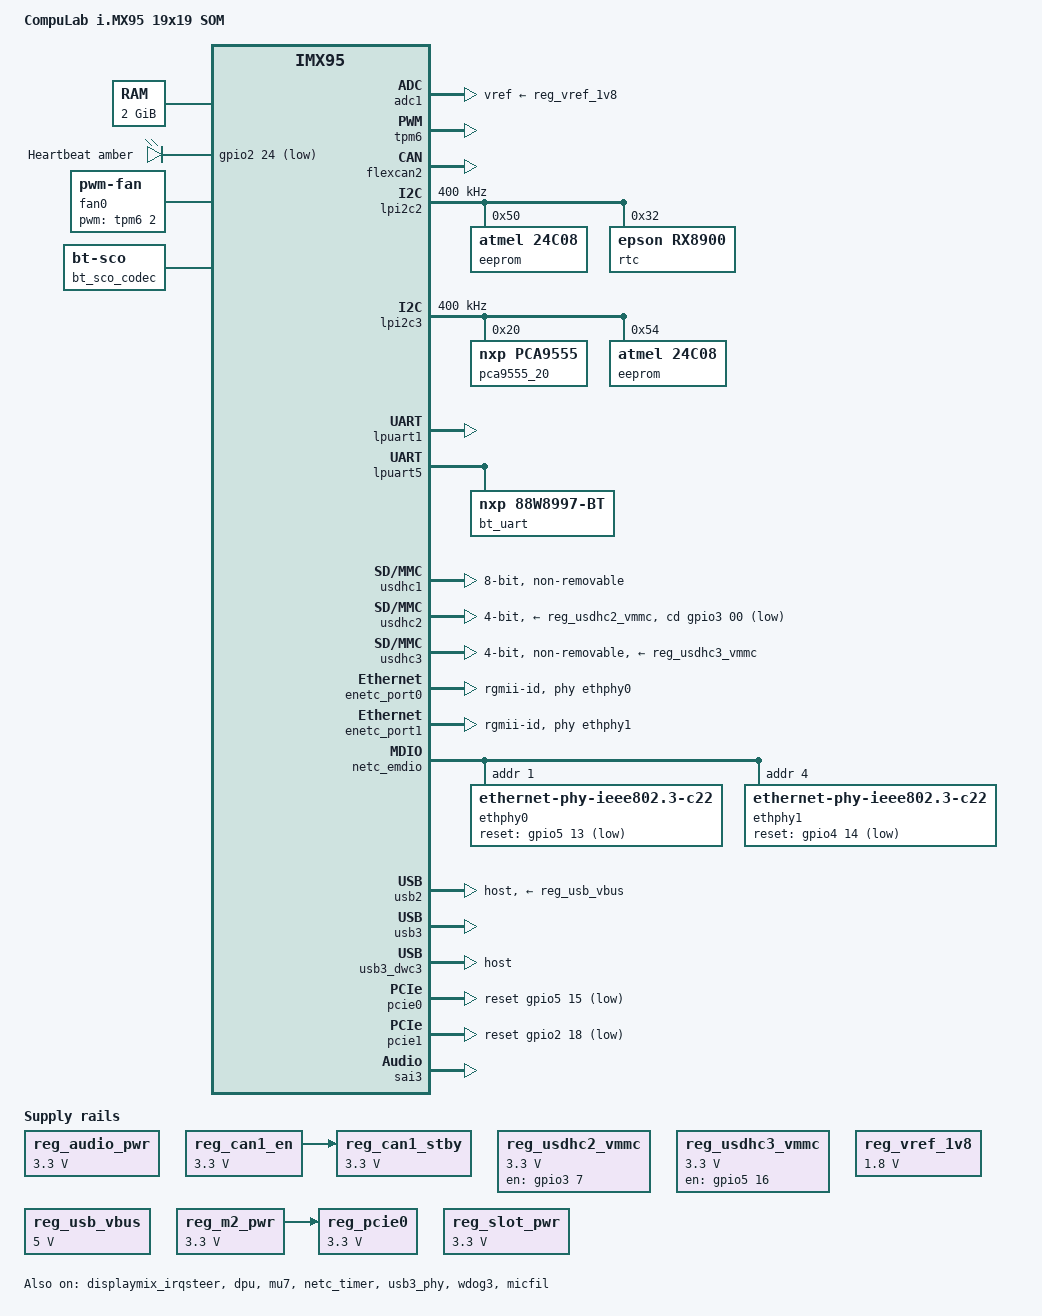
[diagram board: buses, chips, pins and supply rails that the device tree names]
// SPDX-License-Identifier: (GPL-2.0+ OR MIT)
/*
 * Copyright 2024 NXP
 */

/dts-v1/;

#include <dt-bindings/phy/phy-imx8-pcie.h>
#include <dt-bindings/gpio/gpio.h>
#include <dt-bindings/leds/common.h>
#include <dt-bindings/pwm/pwm.h>
#include <dt-bindings/usb/pd.h>
#include "../freescale/imx95.dtsi"
#include "ucm-imx95-pinctrl.dtsi"

#define FALLING_EDGE		BIT(0)
#define RISING_EDGE		BIT(1)

#define BRD_SM_CTRL_SD3_WAKE		0x8000	/*!< PCAL6408A-0 */
#define BRD_SM_CTRL_PCIE1_WAKE		0x8001	/*!< PCAL6408A-4 */
#define BRD_SM_CTRL_BT_WAKE		0x8002	/*!< PCAL6408A-5 */
#define BRD_SM_CTRL_PCIE2_WAKE		0x8003	/*!< PCAL6408A-6 */
#define BRD_SM_CTRL_BUTTON		0x8004	/*!< PCAL6408A-7 */

/ {
	model = "CompuLab i.MX95 19x19 SOM";
	compatible = "compulab,ucm-imx95", "fsl,imx95";

	aliases {
		mmc0 = &usdhc1;
		mmc1 = &usdhc2;
		serial0 = &lpuart1;
		ethernet0 = &enetc_port0;
		ethernet1 = &enetc_port1;
	};

	chosen {
		stdout-path = &lpuart1;
		#address-cells = <2>;
		#size-cells = <2>;
		/* will be updated by U-boot when booting Xen */
		module@0 {
			bootargs = "earlycon=xen console=hvc0 loglevel=8 root=/dev/mmcblk0p2 rw rootwait";
			compatible = "xen,linux-zimage", "xen,multiboot-module";
			reg = <0x00000000 0x9e000000 0x00000000 0x2000000>;
		};
	};

	memory@80000000 {
		device_type = "memory";
		reg = <0x0 0x80000000 0 0x80000000>;
	};

	gpio-leds {
		compatible = "gpio-leds";
		pinctrl-names = "default";
		pinctrl-0 = <&pinctrl_pwrled>;

		heartbeat-led {
			label = "Heartbeat";
			color = <LED_COLOR_ID_AMBER>;
			function = LED_FUNCTION_HEARTBEAT;
			gpios = <&gpio2 24 GPIO_ACTIVE_LOW>;
			linux,default-trigger = "heartbeat";
		};
	};

	fan0: pwm-fan {
		compatible = "pwm-fan";
		#cooling-cells = <2>;
		pwms = <&tpm6 2 4000000 PWM_POLARITY_INVERTED>;
		cooling-levels = <64 128 192 255>;
	};

	reserved-memory {
		#address-cells = <2>;
		#size-cells = <2>;
		ranges;

		linux_cma: linux,cma {
			compatible = "shared-dma-pool";
			alloc-ranges = <0 0x80000000 0 0x7f000000>;
			size = <0 0x3c000000>;
			linux,cma-default;
			reusable;
		};

		vpu_boot: vpu_boot@a0000000 {
			reg = <0 0xa0000000 0 0x100000>;
			no-map;
		};

		vdev0vring0: vdev0vring0@88000000 {
			reg = <0 0x88000000 0 0x8000>;
			no-map;
		};

		vdev0vring1: vdev0vring1@88008000 {
			reg = <0 0x88008000 0 0x8000>;
			no-map;
		};

		vdev1vring0: vdev1vring0@88010000 {
			reg = <0 0x88010000 0 0x8000>;
			no-map;
		};

		vdev1vring1: vdev1vring1@88018000 {
			reg = <0 0x88018000 0 0x8000>;
			no-map;
		};

		rsc_table: rsc-table@88220000 {
			reg = <0 0x88220000 0 0x1000>;
			no-map;
		};

		vdevbuffer: vdevbuffer@88020000 {
			compatible = "shared-dma-pool";
			reg = <0 0x88020000 0 0x100000>;
			no-map;
		};
	};

	reg_audio_pwr: regulator-audio-pwr {
		compatible = "regulator-fixed";
		regulator-name = "audio-pwr";
		regulator-min-microvolt = <3300000>;
		regulator-max-microvolt = <3300000>;
	};

	reg_can1_stby: regulator-can1-stby {
		compatible = "regulator-fixed";
		regulator-name = "can1-stby";
		regulator-min-microvolt = <3300000>;
		regulator-max-microvolt = <3300000>;
		enable-active-high;
		vin-supply = <&reg_can1_en>;
	};

	reg_can1_en: regulator-can1-en {
		compatible = "regulator-fixed";
		regulator-name = "can1-en";
		regulator-min-microvolt = <3300000>;
		regulator-max-microvolt = <3300000>;
		enable-active-high;
	};

	reg_usdhc2_vmmc: regulator-usdhc2 {
		compatible = "regulator-fixed";
		pinctrl-names = "default";
		pinctrl-0 = <&pinctrl_reg_usdhc2_vmmc>;
		regulator-name = "VDD_SD2_3V3";
		regulator-min-microvolt = <3300000>;
		regulator-max-microvolt = <3300000>;
		gpio = <&gpio3 7 GPIO_ACTIVE_HIGH>;
		off-on-delay-us = <12000>;
		enable-active-high;
	};

	reg_usdhc3_vmmc: regulator-usdhc3 {
		compatible = "regulator-fixed";
		pinctrl-names = "default";
		pinctrl-0 = <&pinctrl_reg_usdhc3_vmmc>;
		regulator-name = "VDD_SD3_3V3";
		regulator-min-microvolt = <3300000>;
		regulator-max-microvolt = <3300000>;
		gpio = <&gpio5 16 GPIO_ACTIVE_HIGH>;
		off-on-delay-us = <12000>;
		enable-active-high;
	};

	reg_pcie0: regulator-pcie {
		compatible = "regulator-fixed";
		regulator-name = "PCIE_WLAN_EN";
		regulator-min-microvolt = <3300000>;
		regulator-max-microvolt = <3300000>;
		vin-supply = <&reg_m2_pwr>;
		enable-active-high;
		regulator-always-on;
	};

	reg_vref_1v8: regulator-adc-vref {
		compatible = "regulator-fixed";
		regulator-name = "vref_1v8";
		regulator-min-microvolt = <1800000>;
		regulator-max-microvolt = <1800000>;
	};

	reg_usb_vbus: regulator-vbus {
		compatible = "regulator-fixed";
		regulator-name = "USB_VBUS";
		regulator-min-microvolt = <5000000>;
		regulator-max-microvolt = <5000000>;
		enable-active-high;
		regulator-always-on;
	};

	reg_m2_pwr: regulator-m2-pwr {
		compatible = "regulator-fixed";
		regulator-name = "M.2-power";
		regulator-min-microvolt = <3300000>;
		regulator-max-microvolt = <3300000>;
		enable-active-high;
	};

	reg_slot_pwr: regulator-slot-pwr {
		compatible = "regulator-fixed";
		regulator-name = "PCIe slot-power";
		regulator-min-microvolt = <3300000>;
		regulator-max-microvolt = <3300000>;
		enable-active-high;
		regulator-always-on;
	};

	cm7: imx95-cm7 {
		compatible = "fsl,imx95-cm7";
		mbox-names = "tx", "rx", "rxdb";
		mboxes = <&mu7 0 1
			  &mu7 1 1
			  &mu7 3 1>;
		memory-region = <&vdevbuffer>, <&vdev0vring0>, <&vdev0vring1>,
				<&vdev1vring0>, <&vdev1vring1>, <&rsc_table>;
		/* cpuid and lmmid must align with SM firmware */
		fsl,cpu-id = <1>;
		fsl,lmm-id = <1>;
		fsl,startup-delay-ms = <50>;
		status = "okay";
	};

	sound-micfil {
		compatible = "fsl,imx-audio-card";
		model = "micfil-audio";
		pri-dai-link {
			link-name = "micfil hifi";
			format = "i2s";
			cpu {
				sound-dai = <&micfil>;
			};
		};
	};

	bt_sco_codec: bt_sco_codec {
		#sound-dai-cells = <1>;
		compatible = "linux,bt-sco";
	};

	sound-bt-sco {
		compatible = "simple-audio-card";
		simple-audio-card,name = "bt-sco-audio";
		simple-audio-card,format = "dsp_a";
		simple-audio-card,bitclock-inversion;
		simple-audio-card,frame-master = <&btcpu>;
		simple-audio-card,bitclock-master = <&btcpu>;

		btcpu: simple-audio-card,cpu {
			sound-dai = <&sai1>;
			dai-tdm-slot-num = <2>;
			dai-tdm-slot-width = <16>;
		};

		simple-audio-card,codec {
			sound-dai = <&bt_sco_codec 1>;
		};
	};

	cl_devicetree: cl-devicetree {
		ucm-imx95-som;
	};
};

&adc1 {
	vref-supply = <&reg_vref_1v8>;
	status = "okay";
};

&displaymix_irqsteer {
	status = "okay";
};

&dpu {
	status = "okay";
};

&tpm6 {
	pinctrl-names = "default";
	pinctrl-0 = <&pinctrl_tpm6>;
	pwm-rst;
	status = "okay";
};

/* pin conflict with PDM */
&flexcan1 {
	pinctrl-names = "default";
	pinctrl-0 = <&pinctrl_flexcan1>;
	xceiver-supply = <&reg_can1_stby>;
	status = "disabled";
};

&flexcan2 {
	pinctrl-names = "default";
	pinctrl-0 = <&pinctrl_flexcan2>;
	status = "okay";
};

&flexspi1 {
	pinctrl-names = "default", "sleep";
	pinctrl-0 = <&pinctrl_flexspi1>;
	pinctrl-1 = <&pinctrl_flexspi1>;
	status = "disabled";

	pinctrl-assert-gpios = <&gpio5 11 GPIO_ACTIVE_HIGH>;

	mt35xu01gbba: flash@0 {
		reg = <0>;
		#address-cells = <1>;
		#size-cells = <1>;
		compatible = "jedec,spi-nor";
		spi-max-frequency = <200000000>;
		spi-tx-bus-width = <8>;
		spi-rx-bus-width = <8>;
	};
};

&lpi2c1 {
        #address-cells = <1>;
        #size-cells = <0>;
        clock-frequency = <400000>;
        pinctrl-names = "default", "sleep";
        pinctrl-0 = <&pinctrl_lpi2c1>;
        pinctrl-1 = <&pinctrl_lpi2c1>;
        status = "disabled";
};

&lpi2c2 {
	#address-cells = <1>;
	#size-cells = <0>;
	clock-frequency = <400000>;
	pinctrl-names = "default", "sleep";
	pinctrl-0 = <&pinctrl_lpi2c2>;
	pinctrl-1 = <&pinctrl_lpi2c2>;
        status = "okay";

        eeprom@50 {
                compatible = "atmel,24c08";
                reg = <0x50>;
                pagesize = <16>;
        };

	rtc@32 {
		compatible = "epson,rx8900";
		reg = <0x32>;
		trickle-diode-disable;
		epson,vdet-disable;
		pagesize = <16>;
		sqw = "32768_hz";
		xt-frequency = <32772300>;
		status = "okay";
        };
};

&lpi2c3 {
	#address-cells = <1>;
	#size-cells = <0>;
	clock-frequency = <400000>;
	pinctrl-names = "default", "sleep";
	pinctrl-0 = <&pinctrl_lpi2c3>;
	pinctrl-1 = <&pinctrl_lpi2c3>;
	status = "okay";

	pca9555_20: gpio@20 {
		compatible = "nxp,pca9555";
		reg = <0x20>;
		gpio-controller;
		#gpio-cells = <2>;
		status = "okay";
	};

        eeprom@54 {
                compatible = "atmel,24c08";
                reg = <0x54>;
                pagesize = <16>;
        };
};

&lpi2c4 {
	#address-cells = <1>;
	#size-cells = <0>;
	clock-frequency = <400000>;
	pinctrl-names = "default", "sleep";
	pinctrl-0 = <&pinctrl_lpi2c4>;
	pinctrl-1 = <&pinctrl_lpi2c4>;
        status = "disabled";
};

&lpi2c5 {
	#address-cells = <1>;
	#size-cells = <0>;
	clock-frequency = <100000>;
	pinctrl-names = "default", "sleep";
	pinctrl-0 = <&pinctrl_lpi2c5>;
	pinctrl-1 = <&pinctrl_lpi2c5>;
        status = "disabled";
};

&lpi2c6 {
	#address-cells = <1>;
	#size-cells = <0>;
	clock-frequency = <100000>;
	pinctrl-names = "default", "sleep";
	pinctrl-0 = <&pinctrl_lpi2c6>;
	pinctrl-1 = <&pinctrl_lpi2c6>;
        status = "disabled";
};

&lpi2c7 {
	#address-cells = <1>;
	#size-cells = <0>;
	clock-frequency = <1000000>;
	pinctrl-names = "default", "sleep";
	pinctrl-0 = <&pinctrl_lpi2c7>;
	pinctrl-1 = <&pinctrl_lpi2c7>;
        status = "disabled";
};

&lpi2c8 {
	#address-cells = <1>;
	#size-cells = <0>;
	clock-frequency = <1000000>;
	pinctrl-names = "default", "sleep";
	pinctrl-0 = <&pinctrl_lpi2c8>;
	pinctrl-1 = <&pinctrl_lpi2c8>;
	status = "disabled";
};

&lpuart1 {
	/* console */
	pinctrl-names = "default";
	pinctrl-0 = <&pinctrl_uart1>;
	status = "okay";
};

&lpuart5 {
	/* BT */
	pinctrl-names = "default";
	pinctrl-0 = <&pinctrl_uart5>;
	status = "okay";
	bt_uart: bluetooth {
		compatible = "nxp,88w8997-bt";
		/* U-blox 88Q9098 module use the 3Mbps by default */
		fw-init-baudrate = <3000000>;
	};
};

&lpspi7 {
	fsl,spi-num-chipselects = <1>;
	pinctrl-names = "default", "sleep";
	pinctrl-0 = <&pinctrl_lpspi7>;
	pinctrl-1 = <&pinctrl_lpspi7>;
	cs-gpios = <&gpio2 4 GPIO_ACTIVE_LOW>;
	status = "disabled";

	spidev0: spi@0 {
		reg = <0>;
		compatible = "lwn,bk4";
		spi-max-frequency = <1000000>;
	};
};

&mu7 {
	status = "okay";
};

&usdhc1 {
	pinctrl-names = "default", "state_100mhz", "state_200mhz", "sleep";
	pinctrl-0 = <&pinctrl_usdhc1>;
	pinctrl-1 = <&pinctrl_usdhc1_100mhz>;
	pinctrl-2 = <&pinctrl_usdhc1_200mhz>;
	pinctrl-3 = <&pinctrl_usdhc1>;
	bus-width = <8>;
	non-removable;
	no-sdio;
	no-sd;
	status = "okay";
};

&usdhc2 {
	pinctrl-names = "default", "state_100mhz", "state_200mhz", "sleep";
	pinctrl-0 = <&pinctrl_usdhc2>, <&pinctrl_usdhc2_gpio>;
	pinctrl-1 = <&pinctrl_usdhc2_100mhz>, <&pinctrl_usdhc2_gpio>;
	pinctrl-2 = <&pinctrl_usdhc2_200mhz>, <&pinctrl_usdhc2_gpio>;
	pinctrl-3 = <&pinctrl_usdhc2>, <&pinctrl_usdhc2_gpio>;
	cd-gpios = <&gpio3 00 GPIO_ACTIVE_LOW>;
	vmmc-supply = <&reg_usdhc2_vmmc>;
	bus-width = <4>;
	status = "okay";
};

&usdhc3 {
	pinctrl-names = "default", "state_100mhz", "state_200mhz", "sleep";
	pinctrl-0 = <&pinctrl_usdhc3>;
	pinctrl-1 = <&pinctrl_usdhc3_100mhz>;
	pinctrl-2 = <&pinctrl_usdhc3_200mhz>;
	pinctrl-3 = <&pinctrl_usdhc3>;
	vmmc-supply = <&reg_usdhc3_vmmc>;
	bus-width = <4>;
	non-removable;
	keep-power-in-suspend;
	wifi-host;
	status = "okay";
};

&enetc_port0 {
	pinctrl-names = "default";
	pinctrl-0 = <&pinctrl_enetc0>;
	phy-handle = <&ethphy0>;
	phy-mode = "rgmii-id";
	status = "okay";
};

&enetc_port1 {
	pinctrl-names = "default";
	pinctrl-0 = <&pinctrl_enetc1>;
	phy-handle = <&ethphy1>;
	phy-mode = "rgmii-id";
	status = "okay";
};

&netc_timer {
	status = "okay";
};

&netc_emdio {
	pinctrl-names = "default";
	pinctrl-0 = <&pinctrl_emdio>;
	status = "okay";

	ethphy0: ethernet-phy@1 {
		compatible = "ethernet-phy-ieee802.3-c22";
		reg = <1>;
		reset-gpios = <&gpio5 13 GPIO_ACTIVE_LOW>;
		reset-assert-us = <10000>;
		reset-deassert-us = <80000>;
		realtek,clkout-disable;
	};

	ethphy1: ethernet-phy@4 {
		compatible = "ethernet-phy-ieee802.3-c22";
		reg = <4>;
		reset-gpios = <&gpio4 14 GPIO_ACTIVE_LOW>;
		reset-assert-us = <10000>;
		reset-deassert-us = <80000>;
		realtek,clkout-disable;
	};
};

&usb2 {
	dr_mode = "host";
	vbus-supply = <&reg_usb_vbus>;
	disable-over-current;
	status = "okay";
};

&thermal_zones {
	a55-thermal {
		trips {
			atrip2: trip2 {
				temperature = <55000>;
				hysteresis = <2000>;
				type = "active";
			};

			atrip3: trip3 {
				temperature = <65000>;
				hysteresis = <2000>;
				type = "active";
			};

			atrip4: trip4 {
				temperature = <75000>;
				hysteresis = <2000>;
				type = "active";
			};
		};

		cooling-maps {
			map1 {
				trip = <&atrip2>;
				cooling-device = <&fan0 0 1>;
			};

			map2 {
				trip = <&atrip3>;
				cooling-device = <&fan0 1 2>;
			};

			map3 {
				trip = <&atrip4>;
				cooling-device = <&fan0 2 3>;
			};
		};
	};

	pf09 {
		polling-delay-passive = <250>;
		polling-delay = <2000>;
		thermal-sensors = <&scmi_sensor 2>;
		trips {
			pf09_alert: trip0 {
				temperature = <140000>;
				hysteresis = <2000>;
				type = "passive";
			};

			pf09_crit: trip1 {
				temperature = <155000>;
				hysteresis = <2000>;
				type = "critical";
			};
		};
	};

	pf53_arm {
		polling-delay-passive = <250>;
		polling-delay = <2000>;
		thermal-sensors = <&scmi_sensor 4>;
		trips {
			pf5301_alert: trip0 {
				temperature = <140000>;
				hysteresis = <2000>;
				type = "passive";
			};

			pf5301_crit: trip1 {
				temperature = <155000>;
				hysteresis = <2000>;
				type = "critical";
			};
		};

		cooling-maps {
			map0 {
				trip = <&pf5301_alert>;
				cooling-device =
					<&A55_0 THERMAL_NO_LIMIT THERMAL_NO_LIMIT>,
					<&A55_1 THERMAL_NO_LIMIT THERMAL_NO_LIMIT>,
					<&A55_2 THERMAL_NO_LIMIT THERMAL_NO_LIMIT>,
					<&A55_3 THERMAL_NO_LIMIT THERMAL_NO_LIMIT>,
					<&A55_4 THERMAL_NO_LIMIT THERMAL_NO_LIMIT>,
					<&A55_5 THERMAL_NO_LIMIT THERMAL_NO_LIMIT>;
			};
		};
	};

	pf53_soc {
		polling-delay-passive = <250>;
		polling-delay = <2000>;
		thermal-sensors = <&scmi_sensor 3>;
		trips {
			pf5302_alert: trip0 {
				temperature = <140000>;
				hysteresis = <2000>;
				type = "passive";
			};

			pf5302_crit: trip1 {
				temperature = <155000>;
				hysteresis = <2000>;
				type = "critical";
			};
		};
	};
};

&cpu_alert0 {
	temperature = <95000>;
};

&cpu_crit0 {
	temperature = <105000>;
};
&ana_alert {
	temperature = <95000>;
};

&ana_crit0 {
	temperature = <105000>;
};

&usb3 {
	status = "okay";
};

&usb3_phy {
	status = "okay";
};

&usb3_dwc3 {
	dr_mode = "host";
	hnp-disable;
	srp-disable;
	adp-disable;
	snps,dis-u1-entry-quirk;
	snps,dis-u2-entry-quirk;
	status = "okay";
};

&scmi_misc {
	nxp,ctrl-ids = <BRD_SM_CTRL_SD3_WAKE		1
			BRD_SM_CTRL_PCIE1_WAKE		1
			BRD_SM_CTRL_BT_WAKE		1
			BRD_SM_CTRL_PCIE2_WAKE		1
			BRD_SM_CTRL_BUTTON		1>;
};

&vpuctrl {
	boot = <&vpu_boot>;
	sram = <&sram1>;
};

&wdog3 {
	status = "okay";
};

&pcie0 {
	pinctrl-0 = <&pinctrl_pcie0>;
	pinctrl-names = "default";
	fsl,refclk-pad-mode = <IMX8_PCIE_REFCLK_PAD_OUTPUT>;
	reset-gpio = <&gpio5 15 GPIO_ACTIVE_LOW>;
	vpcie-supply = <&reg_pcie0>;
	status = "okay";
};

&pcie1 {
	pinctrl-0 = <&pinctrl_pcie1>;
	pinctrl-names = "default";
	fsl,refclk-pad-mode = <IMX8_PCIE_REFCLK_PAD_OUTPUT>;
	reset-gpio = <&gpio2 18 GPIO_ACTIVE_LOW>;
	vpcie-supply = <&reg_slot_pwr>;
	status = "okay";
};

&pcie1_ep {
	pinctrl-0 = <&pinctrl_pcie1>;
	pinctrl-names = "default";
	fsl,refclk-pad-mode = <IMX8_PCIE_REFCLK_PAD_OUTPUT>;
	vpcie-supply = <&reg_slot_pwr>;
	status = "disabled";
};

&sai1 {
	#sound-dai-cells = <0>;
	pinctrl-names = "default";
	pinctrl-0 = <&pinctrl_sai1>;
	assigned-clocks = <&scmi_clk IMX95_CLK_AUDIOPLL1_VCO>,
			  <&scmi_clk IMX95_CLK_AUDIOPLL2_VCO>,
			  <&scmi_clk IMX95_CLK_AUDIOPLL1>,
			  <&scmi_clk IMX95_CLK_AUDIOPLL2>,
			  <&scmi_clk IMX95_CLK_SAI1>;
	assigned-clock-parents = <0>, <0>, <0>, <0>,
				 <&scmi_clk IMX95_CLK_AUDIOPLL1>;
	assigned-clock-rates = <3932160000>,
			       <3612672000>, <393216000>,
			       <361267200>, <12288000>;
	fsl,sai-mclk-direction-output;
	status = "disabled";
};

&sai3 {
	#sound-dai-cells = <0>;
	pinctrl-names = "default";
	pinctrl-0 = <&pinctrl_sai3>;
	assigned-clocks = <&scmi_clk IMX95_CLK_AUDIOPLL1_VCO>,
			  <&scmi_clk IMX95_CLK_AUDIOPLL2_VCO>,
			  <&scmi_clk IMX95_CLK_AUDIOPLL1>,
			  <&scmi_clk IMX95_CLK_AUDIOPLL2>,
			  <&scmi_clk IMX95_CLK_SAI3>;
	assigned-clock-parents = <0>, <0>, <0>, <0>,
				 <&scmi_clk IMX95_CLK_AUDIOPLL1>;
	assigned-clock-rates = <3932160000>,
			       <3612672000>, <393216000>,
			       <361267200>, <12288000>;
	fsl,sai-mclk-direction-output;
	status = "okay";
};

&micfil {
	#sound-dai-cells = <0>;
	pinctrl-names = "default";
	pinctrl-0 = <&pinctrl_pdm>;
	assigned-clocks = <&scmi_clk IMX95_CLK_AUDIOPLL1_VCO>,
			  <&scmi_clk IMX95_CLK_AUDIOPLL2_VCO>,
			  <&scmi_clk IMX95_CLK_AUDIOPLL1>,
			  <&scmi_clk IMX95_CLK_AUDIOPLL2>,
			  <&scmi_clk IMX95_CLK_PDM>;
	assigned-clock-parents = <0>, <0>, <0>, <0>,
				 <&scmi_clk IMX95_CLK_AUDIOPLL1>;
	assigned-clock-rates = <3932160000>,
			       <3612672000>, <393216000>,
			       <361267200>, <49152000>;
	status = "okay";
};
